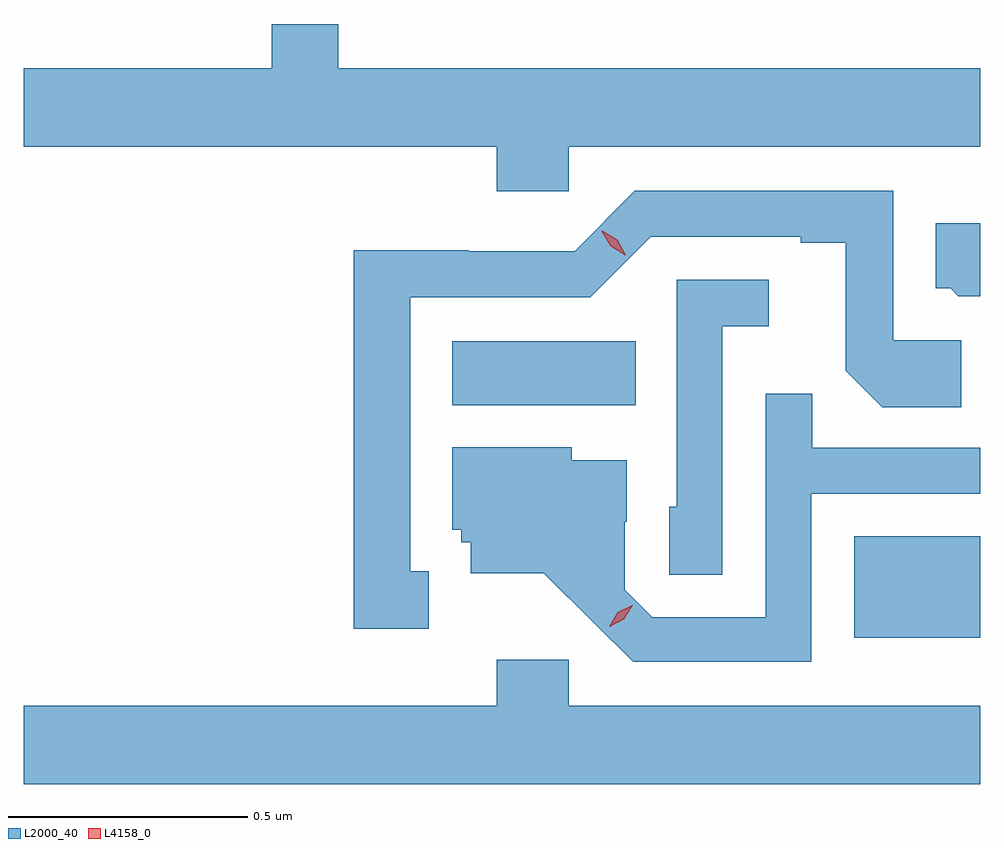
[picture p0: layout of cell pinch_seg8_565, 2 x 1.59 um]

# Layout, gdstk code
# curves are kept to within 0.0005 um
import gdstk
lib = gdstk.Library(unit=1e-6, precision=1e-09)
def R(c, l, rs):  # rectangles x0, y0, x1, y1
    for r in rs: c.add(gdstk.rectangle(r[:2], r[2:], *l))
def P(c, l, *ps):  # polygons
    for p in ps: c.add(gdstk.Polygon(p, *l))
L2000_40 = (2000, 40)
L4158_0 = (4158, 0)

pinch_seg8_565 = lib.new_cell('pinch_seg8_565')
R(pinch_seg8_565, L2000_40, [(143.096,1122.134,143.36,1122.346), (142.256,1122.62,142.64,1122.754)])
P(pinch_seg8_565, L2000_40, [(142.5,1123.16),(143.36,1123.16),(143.36,1123.324),(142.018,1123.324),(142.018,1123.417),(141.879,1123.417),(141.879,1123.324),(141.36,1123.324),(141.36,1123.16),(142.349,1123.16),(142.349,1123.067),(142.5,1123.067)],
  [(141.743,1123.417),(141.36,1123.417),(141.36,1123.416),(141.742,1123.416)],
  [(142.207,1122.273),(142.168,1122.273),(142.168,1122.846),(142.545,1122.846),(142.671,1122.972),(142.985,1122.972),(142.985,1122.96),(143.079,1122.96),(143.079,1122.692),(143.155,1122.616),(143.32,1122.616),(143.32,1122.756),(143.178,1122.756),(143.178,1123.068),(142.638,1123.068),(142.512,1122.942),(142.29,1122.942),(142.29,1122.944),(142.05,1122.944),(142.05,1122.153),(142.207,1122.153)],
  [(143.36,1123),(143.267,1123),(143.267,1122.864),(143.298,1122.864),(143.314,1122.848),(143.36,1122.848)],
  [(142.821,1122.785),(142.918,1122.785),(142.918,1122.882),(142.725,1122.882),(142.725,1122.408),(142.71,1122.408),(142.71,1122.265),(142.821,1122.265)],
  [(143.007,1122.435),(143.36,1122.435),(143.36,1122.531),(143.009,1122.531),(143.009,1122.644),(142.911,1122.644),(142.911,1122.177),(142.674,1122.177),(142.617,1122.234),(142.617,1122.376),(142.621,1122.376),(142.621,1122.505),(142.506,1122.505),(142.506,1122.532),(142.256,1122.532),(142.256,1122.36),(142.275,1122.36),(142.275,1122.333),(142.295,1122.333),(142.295,1122.269),(142.447,1122.269),(142.634,1122.084),(143.007,1122.084)],
  [(143.36,1121.992),(142.5,1121.992),(142.5,1122.088),(142.349,1122.088),(142.349,1121.992),(141.36,1121.992),(141.36,1121.828),(143.36,1121.828)])
P(pinch_seg8_565, L4158_0, [(142.584,1122.157),(142.584,1122.157),(142.602,1122.187),(142.632,1122.202),(142.633,1122.202),(142.633,1122.202),(142.615,1122.172),(142.585,1122.157)],
  [(142.618,1122.933),(142.587,1122.952),(142.569,1122.984),(142.569,1122.985),(142.57,1122.985),(142.601,1122.966),(142.619,1122.933),(142.619,1122.933)])

lib.write_gds('pinch_seg8_565.gds')
